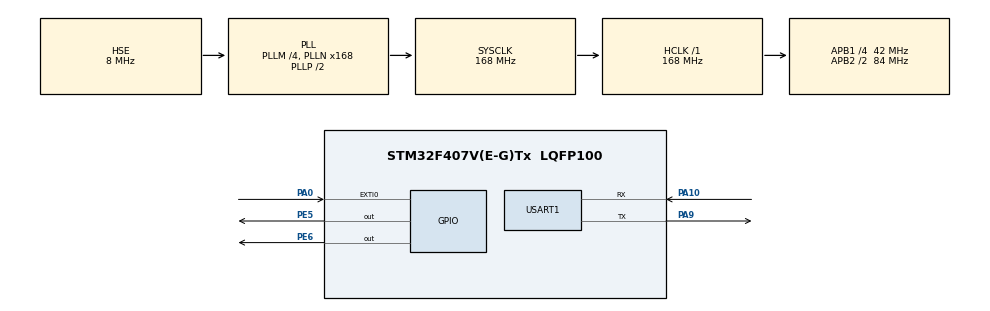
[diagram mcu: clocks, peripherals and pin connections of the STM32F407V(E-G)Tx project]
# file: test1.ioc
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Dma.Request0=USART1_RX
Dma.Request1=USART1_TX
Dma.USART1_RX.0.Direction=DMA_PERIPH_TO_MEMORY
Dma.USART1_RX.0.FIFOMode=DMA_FIFOMODE_DISABLE
Dma.USART1_RX.0.Instance=DMA2_Stream2
Dma.USART1_RX.0.MemDataAlignment=DMA_MDATAALIGN_BYTE
Dma.USART1_RX.0.MemInc=DMA_MINC_ENABLE
Dma.USART1_RX.0.Mode=DMA_NORMAL
Dma.USART1_RX.0.PeriphDataAlignment=DMA_PDATAALIGN_BYTE
Dma.USART1_RX.0.PeriphInc=DMA_PINC_DISABLE
Dma.USART1_RX.0.Priority=DMA_PRIORITY_HIGH
Dma.USART1_TX.1.Direction=DMA_MEMORY_TO_PERIPH
Dma.USART1_TX.1.FIFOMode=DMA_FIFOMODE_DISABLE
Dma.USART1_TX.1.Instance=DMA2_Stream7
Dma.USART1_TX.1.MemDataAlignment=DMA_MDATAALIGN_BYTE
Dma.USART1_TX.1.MemInc=DMA_MINC_ENABLE
Dma.USART1_TX.1.Mode=DMA_NORMAL
Dma.USART1_TX.1.PeriphDataAlignment=DMA_PDATAALIGN_BYTE
Dma.USART1_TX.1.PeriphInc=DMA_PINC_DISABLE
Dma.USART1_TX.1.Priority=DMA_PRIORITY_HIGH
Mcu.Family=STM32F4
Mcu.Name=STM32F407V(E-G)Tx
Mcu.Package=LQFP100
NVIC.DMA2_Stream2_IRQn=true\:0\:0\:false\:false\:true\:false\:true\:true
NVIC.DMA2_Stream7_IRQn=true\:0\:0\:false\:false\:true\:false\:true\:true
NVIC.EXTI0_IRQn=true\:0\:0\:false\:false\:true\:true\:true\:true
NVIC.PriorityGroup=NVIC_PRIORITYGROUP_4
NVIC.USART1_IRQn=true\:0\:0\:false\:false\:true\:true\:true\:true
PA0-WKUP.GPIO_PuPd=GPIO_PULLDOWN
PA0-WKUP.Signal=GPXTI0
PA10.Mode=Asynchronous
PA10.Signal=USART1_RX
PA13.Mode=Serial_Wire
PA13.Signal=SYS_JTMS-SWDIO
PA14.Mode=Serial_Wire
PA14.Signal=SYS_JTCK-SWCLK
PA9.Mode=Asynchronous
PA9.Signal=USART1_TX
PE5.Signal=GPIO_Output
PE6.Signal=GPIO_Output
PH0-OSC_IN.Mode=HSE-External-Oscillator
PH0-OSC_IN.Signal=RCC_OSC_IN
PH1-OSC_OUT.Mode=HSE-External-Oscillator
PH1-OSC_OUT.Signal=RCC_OSC_OUT
ProjectManager.HeapSize=0x200
ProjectManager.StackSize=0x400
ProjectManager.TargetToolchain=CMake
RCC.48MHZClocksFreq_Value=84000000
RCC.AHBFreq_Value=168000000
RCC.APB1CLKDivider=RCC_HCLK_DIV4
RCC.APB1Freq_Value=42000000
RCC.APB1TimFreq_Value=84000000
RCC.APB2CLKDivider=RCC_HCLK_DIV2
RCC.APB2Freq_Value=84000000
RCC.APB2TimFreq_Value=168000000
RCC.CortexFreq_Value=168000000
RCC.HCLKFreq_Value=168000000
RCC.HSE_VALUE=8000000
RCC.HSI_VALUE=16000000
RCC.LSE_VALUE=32768
RCC.PLLM=4
RCC.PLLN=168
RCC.PLLSourceVirtual=RCC_PLLSOURCE_HSE
RCC.SYSCLKFreq_VALUE=168000000
RCC.SYSCLKSource=RCC_SYSCLKSOURCE_PLLCLK
RCC.VCOOutputFreq_Value=336000000
TIM9.Period=999
TIM9.Prescaler=167
USART1.VirtualMode=VM_ASYNC
VP_TIM9_VS_ClockSourceINT.Mode=Internal
board=custom

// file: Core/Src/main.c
/* USER CODE BEGIN Header */
/**
 ******************************************************************************
 * @file           : main.c
 * @brief          : Main program body
 ******************************************************************************
 * @attention
 *
 * Copyright (c) 2026 STMicroelectronics.
 * All rights reserved.
 *
 * This software is licensed under terms that can be found in the LICENSE file
 * in the root directory of this software component.
 * If no LICENSE file comes with this software, it is provided AS-IS.
 *
 ******************************************************************************
 */
/* USER CODE END Header */
#include "main.h"
#include "dma.h"
#include "tim.h"
#include "usart.h"
#include "gpio.h"

/* USER CODE BEGIN Includes */
#include "stdbool.h"
/* USER CODE END Includes */

/* USER CODE BEGIN PV */
uint8_t receiveData[2];
/* USER CODE END PV */

void SystemClock_Config(void);

/* USER CODE BEGIN 0 */
void HAL_UARTEx_RxEventCallback(UART_HandleTypeDef *huart, uint16_t Size)
{
  if (huart == &huart1)
  {
    HAL_UART_Transmit_DMA(&huart1, receiveData, Size);
   if(receiveData[0]=='G'&& receiveData[1] == '1')
   {
     HAL_GPIO_WritePin(GPIOE, GPIO_PIN_6, GPIO_PIN_SET);
   }
   else if(receiveData[0] == 'G' && receiveData[1] == '0')
   {
     HAL_GPIO_WritePin(GPIOE, GPIO_PIN_6, GPIO_PIN_RESET);
   }
   if (receiveData[0] == 'R' && receiveData[1] == '1')
   {
     HAL_GPIO_WritePin(GPIOE, GPIO_PIN_5, GPIO_PIN_SET);
   }
   else if (receiveData[0] == 'R' && receiveData[1] == '0')
   {
     HAL_GPIO_WritePin(GPIOE, GPIO_PIN_5, GPIO_PIN_RESET);
   }
   HAL_UARTEx_ReceiveToIdle_DMA(&huart1, receiveData, 2);
  }
}
/* USER CODE END 0 */

int main(void)
{

  /* MCU Configuration--------------------------------------------------------*/

  /* Reset of all peripherals, Initializes the Flash interface and the Systick. */
  HAL_Init();

  /* Configure the system clock */
  SystemClock_Config();

  /* Initialize all configured peripherals */
  MX_GPIO_Init();
  MX_DMA_Init();
  MX_TIM9_Init();
  MX_USART1_UART_Init();
  /* USER CODE BEGIN 2 */
  // char message[] = "Hello, World!";
  /* USER CODE END 2 */

  /* Infinite loop */
  /* USER CODE BEGIN WHILE */

  HAL_UARTEx_ReceiveToIdle_DMA(&huart1, receiveData, 2);
  while (1)
  {
    // HAL_UART_Transmit(&huart1, (uint8_t*)message, sizeof(message)-1, 100);
    // HAL_UART_Transmit_IT(&huart1, (uint8_t*)message, sizeof(message)-1);
    //  HAL_Delay(1000);
    /* USER CODE END WHILE */

  }
}

void SystemClock_Config(void)
{
  RCC_OscInitTypeDef RCC_OscInitStruct = {0};
  RCC_ClkInitTypeDef RCC_ClkInitStruct = {0};

  /** Configure the main internal regulator output voltage
  */
  __HAL_RCC_PWR_CLK_ENABLE();
  __HAL_PWR_VOLTAGESCALING_CONFIG(PWR_REGULATOR_VOLTAGE_SCALE1);

  /** Initializes the RCC Oscillators according to the specified parameters
  * in the RCC_OscInitTypeDef structure.
  */
  RCC_OscInitStruct.OscillatorType = RCC_OSCILLATORTYPE_HSE;
  RCC_OscInitStruct.HSEState = RCC_HSE_ON;
  RCC_OscInitStruct.PLL.PLLState = RCC_PLL_ON;
  RCC_OscInitStruct.PLL.PLLSource = RCC_PLLSOURCE_HSE;
  RCC_OscInitStruct.PLL.PLLM = 4;
  RCC_OscInitStruct.PLL.PLLN = 168;
  RCC_OscInitStruct.PLL.PLLP = RCC_PLLP_DIV2;
  RCC_OscInitStruct.PLL.PLLQ = 4;
  if (HAL_RCC_OscConfig(&RCC_OscInitStruct) != HAL_OK)
  {
    Error_Handler();
  }

  /** Initializes the CPU, AHB and APB buses clocks
  */
  RCC_ClkInitStruct.ClockType = RCC_CLOCKTYPE_HCLK|RCC_CLOCKTYPE_SYSCLK
                              |RCC_CLOCKTYPE_PCLK1|RCC_CLOCKTYPE_PCLK2;
  RCC_ClkInitStruct.SYSCLKSource = RCC_SYSCLKSOURCE_PLLCLK;
  RCC_ClkInitStruct.AHBCLKDivider = RCC_SYSCLK_DIV1;
  RCC_ClkInitStruct.APB1CLKDivider = RCC_HCLK_DIV4;
  RCC_ClkInitStruct.APB2CLKDivider = RCC_HCLK_DIV2;

  if (HAL_RCC_ClockConfig(&RCC_ClkInitStruct, FLASH_LATENCY_5) != HAL_OK)
  {
    Error_Handler();
  }
}

void Error_Handler(void)
{
  __disable_irq();
  while (1)
  {
  }
}
